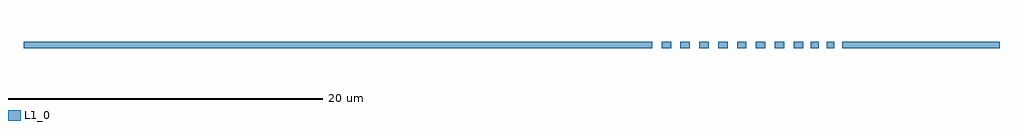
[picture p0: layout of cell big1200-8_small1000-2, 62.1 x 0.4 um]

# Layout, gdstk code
import gdstk
lib = gdstk.Library(unit=1e-6, precision=1e-09)
def R(c, l, rs):  # rectangles x0, y0, x1, y1
    for r in rs: c.add(gdstk.rectangle(r[:2], r[2:], *l))
def A(c, l, x, y, w, h, nx, ny, dx, dy):  # array of equal rectangles
    R(c, l, [(x+i*dx, y+j*dy, x+i*dx+w, y+j*dy+h) for i in range(nx) for j in range(ny)])
L1_0 = (1, 0)

big1200_8_small1000_2 = lib.new_cell('big1200-8_small1000-2')
A(big1200_8_small1000_2, L1_0, 0.6, 0, 0.6, 0.4, 8, 1, 1.2, 0)
R(big1200_8_small1000_2, L1_0, [(-40,0,0,0.4), (10.1,0,10.6,0.4), (11.1,0,11.6,0.4), (12.1,0,22.1,0.4)])

lib.write_gds('big1200-8_small1000-2.gds')
